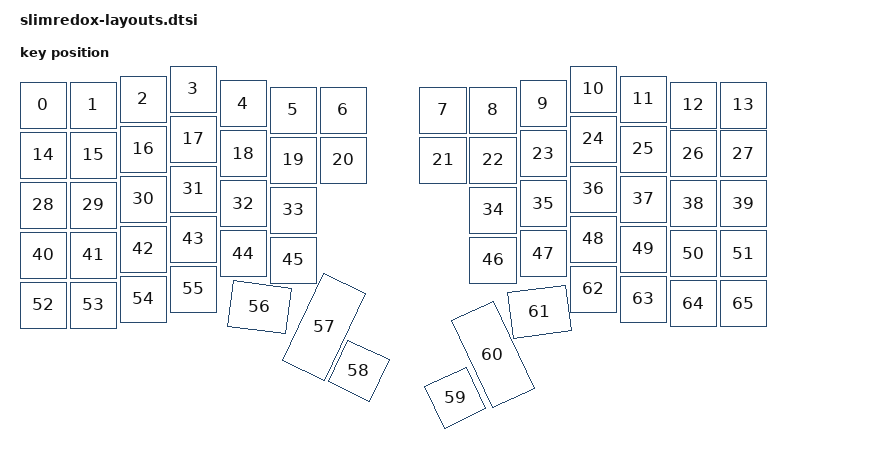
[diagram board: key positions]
#include <physical_layouts.dtsi>

/ {
    slimredox_physical_layout_0: slimredox_physical_layout_0 {
        compatible = "zmk,physical-layout";
        display-name = "Default";

        keys  //                     w   h    x    y     rot    rx    ry
            = <&key_physical_attrs 100 100    0   32       0     0     0>
            , <&key_physical_attrs 100 100  100   32       0     0     0>
            , <&key_physical_attrs 100 100  200   20       0     0     0>
            , <&key_physical_attrs 100 100  300    0       0     0     0>
            , <&key_physical_attrs 100 100  400   29       0     0     0>
            , <&key_physical_attrs 100 100  500   42       0     0     0>
            , <&key_physical_attrs 100 100  600   42       0     0     0>
            , <&key_physical_attrs 100 100  800   42       0     0     0>
            , <&key_physical_attrs 100 100  900   42       0     0     0>
            , <&key_physical_attrs 100 100 1000   29       0     0     0>
            , <&key_physical_attrs 100 100 1100    0       0     0     0>
            , <&key_physical_attrs 100 100 1200   20       0     0     0>
            , <&key_physical_attrs 100 100 1300   32       0     0     0>
            , <&key_physical_attrs 100 100 1400   32       0     0     0>
            , <&key_physical_attrs 100 100    0  132       0     0     0>
            , <&key_physical_attrs 100 100  100  132       0     0     0>
            , <&key_physical_attrs 100 100  200  120       0     0     0>
            , <&key_physical_attrs 100 100  300  100       0     0     0>
            , <&key_physical_attrs 100 100  400  129       0     0     0>
            , <&key_physical_attrs 100 100  500  142       0     0     0>
            , <&key_physical_attrs 100 100  600  142       0     0     0>
            , <&key_physical_attrs 100 100  800  142       0     0     0>
            , <&key_physical_attrs 100 100  900  142       0     0     0>
            , <&key_physical_attrs 100 100 1000  129       0     0     0>
            , <&key_physical_attrs 100 100 1100  100       0     0     0>
            , <&key_physical_attrs 100 100 1200  120       0     0     0>
            , <&key_physical_attrs 100 100 1300  129       0     0     0>
            , <&key_physical_attrs 100 100 1400  129       0     0     0>
            , <&key_physical_attrs 100 100    0  232       0     0     0>
            , <&key_physical_attrs 100 100  100  232       0     0     0>
            , <&key_physical_attrs 100 100  200  220       0     0     0>
            , <&key_physical_attrs 100 100  300  200       0     0     0>
            , <&key_physical_attrs 100 100  400  229       0     0     0>
            , <&key_physical_attrs 100 100  500  242       0     0     0>
            , <&key_physical_attrs 100 100  900  242       0     0     0>
            , <&key_physical_attrs 100 100 1000  229       0     0     0>
            , <&key_physical_attrs 100 100 1100  200       0     0     0>
            , <&key_physical_attrs 100 100 1200  220       0     0     0>
            , <&key_physical_attrs 100 100 1300  229       0     0     0>
            , <&key_physical_attrs 100 100 1400  229       0     0     0>
            , <&key_physical_attrs 100 100    0  332       0     0     0>
            , <&key_physical_attrs 100 100  100  332       0     0     0>
            , <&key_physical_attrs 100 100  200  320       0     0     0>
            , <&key_physical_attrs 100 100  300  300       0     0     0>
            , <&key_physical_attrs 100 100  400  329       0     0     0>
            , <&key_physical_attrs 100 100  500  342       0     0     0>
            , <&key_physical_attrs 100 100  900  342       0     0     0>
            , <&key_physical_attrs 100 100 1000  329       0     0     0>
            , <&key_physical_attrs 100 100 1100  300       0     0     0>
            , <&key_physical_attrs 100 100 1200  320       0     0     0>
            , <&key_physical_attrs 100 100 1300  329       0     0     0>
            , <&key_physical_attrs 100 100 1400  329       0     0     0>
            , <&key_physical_attrs 100 100    0  432       0     0     0>
            , <&key_physical_attrs 100 100  100  432       0     0     0>
            , <&key_physical_attrs 100 100  200  420       0     0     0>
            , <&key_physical_attrs 100 100  300  400       0     0     0>
            , <&key_physical_attrs 125 100  425  429     750   430   455>
            , <&key_physical_attrs 100 200  575  342    2500   430   455>
            , <&key_physical_attrs 100 100  675  442    2500   430   455>
            , <&key_physical_attrs 100 100  725  642 (-2500)   770   455>
            , <&key_physical_attrs 100 200  830  545 (-2500)   770   455>
            , <&key_physical_attrs 125 100  970  525  (-750)   430   455>
            , <&key_physical_attrs 100 100 1100  400       0     0     0>
            , <&key_physical_attrs 100 100 1200  420       0     0     0>
            , <&key_physical_attrs 100 100 1300  429       0     0     0>
            , <&key_physical_attrs 100 100 1400  429       0     0     0>
            ;
    };

};
